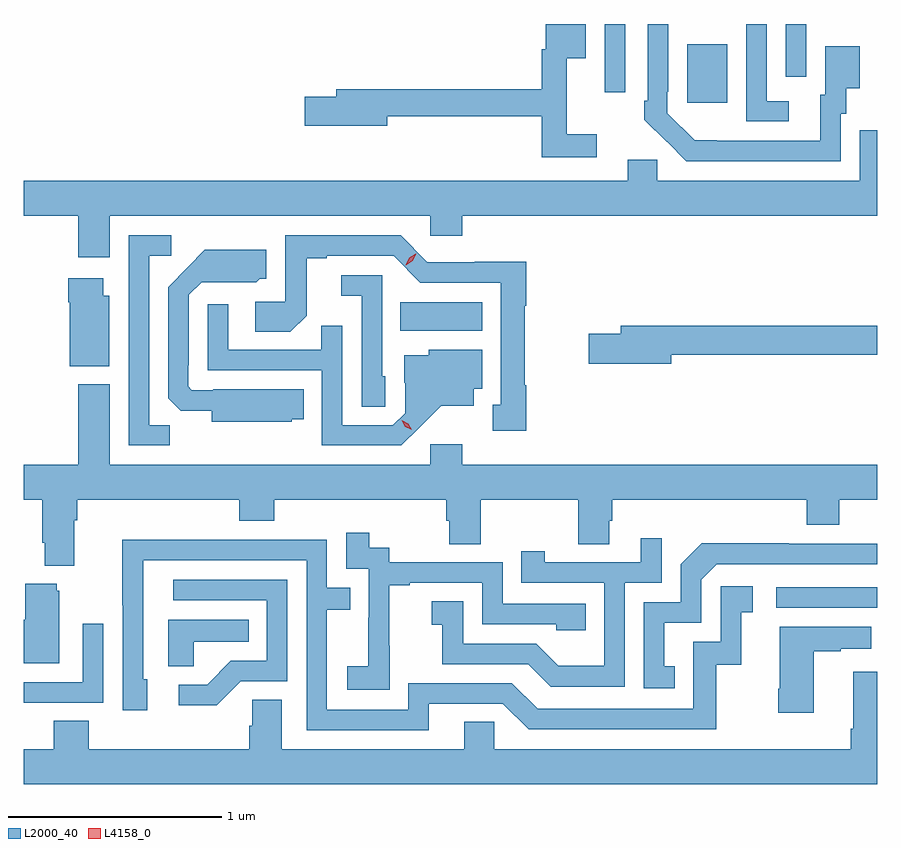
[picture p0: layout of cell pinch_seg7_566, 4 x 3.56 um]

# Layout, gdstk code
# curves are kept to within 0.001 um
import gdstk
lib = gdstk.Library(unit=1e-6, precision=1e-09)
def R(c, l, rs):  # rectangles x0, y0, x1, y1
    for r in rs: c.add(gdstk.rectangle(r[:2], r[2:], *l))
def P(c, l, *ps):  # polygons
    for p in ps: c.add(gdstk.Polygon(p, *l))
L2000_40 = (2000, 40)
L4158_0 = (4158, 0)

pinch_seg7_566 = lib.new_cell('pinch_seg7_566')
R(pinch_seg7_566, L2000_40, [(186.861,1046.73,187.334,1046.826), (185.098,1048.028,185.482,1048.162), (186.443,1049.097,186.631,1049.371), (186.057,1049.148,186.153,1049.467), (186.906,1049.22,187.002,1049.467)])
P(pinch_seg7_566, L2000_40, [(187.164,1049.046),(187.189,1049.046),(187.189,1049.165),(187.252,1049.165),(187.252,1049.362),(187.091,1049.362),(187.091,1049.136),(187.067,1049.136),(187.067,1048.92),(186.48,1048.921),(186.351,1049.049),(186.351,1049.149),(186.354,1049.149),(186.354,1049.467),(186.258,1049.467),(186.258,1049.107),(186.243,1049.107),(186.243,1049.019),(186.44,1048.824),(187.164,1048.824)],
  [(186.019,1048.951),(185.879,1048.951),(185.879,1049.306),(185.968,1049.306),(185.968,1049.467),(185.78,1049.467),(185.78,1049.349),(185.761,1049.349),(185.761,1049.162),(184.799,1049.162),(184.799,1049.126),(184.65,1049.126),(184.65,1048.991),(185.038,1048.991),(185.038,1049.034),(185.761,1049.034),(185.761,1048.842),(186.019,1048.842)],
  [(186.919,1049.106),(186.816,1049.106),(186.816,1049.467),(186.72,1049.467),(186.72,1049.01),(186.919,1049.01)],
  [(183.736,1048.568),(185.238,1048.568),(185.238,1048.475),(185.39,1048.475),(185.39,1048.568),(187.334,1048.568),(187.334,1048.968),(187.253,1048.968),(187.253,1048.732),(186.303,1048.732),(186.303,1048.83),(186.164,1048.83),(186.164,1048.732),(183.334,1048.732),(183.334,1048.568),(183.589,1048.568),(183.589,1048.374),(183.736,1048.374)],
  [(185.689,1047.773),(185.681,1047.773),(185.681,1048.147),(185.689,1048.147),(185.689,1048.352),(185.448,1048.352),(185.448,1048.35),(185.226,1048.35),(185.1,1048.476),(184.56,1048.476),(184.56,1048.164),(184.419,1048.164),(184.419,1048.024),(184.583,1048.024),(184.659,1048.1),(184.659,1048.368),(184.753,1048.368),(184.753,1048.38),(185.067,1048.38),(185.193,1048.254),(185.57,1048.254),(185.57,1047.681),(185.531,1047.681),(185.531,1047.561),(185.689,1047.561)],
  [(184.017,1047.587),(183.921,1047.587),(183.921,1048.38),(184.024,1048.38),(184.024,1048.476),(183.825,1048.476),(183.825,1047.492),(184.017,1047.492)],
  [(184.59,1047.614),(184.646,1047.614),(184.646,1047.754),(184.222,1047.754),(184.222,1047.75),(184.122,1047.75),(184.104,1047.768),(184.104,1047.868),(184.107,1047.868),(184.107,1048.197),(184.167,1048.257),(184.424,1048.256),(184.44,1048.272),(184.471,1048.272),(184.471,1048.408),(184.183,1048.408),(184.011,1048.234),(184.011,1047.712),(184.07,1047.653),(184.214,1047.653),(184.214,1047.602),(184.59,1047.602)],
  [(185.028,1047.816),(185.013,1047.816),(185.013,1048.29),(184.821,1048.29),(184.821,1048.193),(184.917,1048.193),(184.917,1047.673),(185.028,1047.673)],
  [(183.733,1048.194),(183.706,1048.194),(183.706,1048.276),(183.541,1048.276),(183.541,1048.163),(183.548,1048.163),(183.548,1047.863),(183.733,1047.863)],
  [(185.188,1047.575),(185.291,1047.677),(185.443,1047.677),(185.443,1047.756),(185.482,1047.756),(185.482,1047.94),(185.232,1047.94),(185.232,1047.913),(185.117,1047.913),(185.117,1047.784),(185.121,1047.784),(185.121,1047.642),(185.064,1047.585),(184.827,1047.585),(184.827,1048.052),(184.729,1048.052),(184.729,1047.939),(184.293,1047.939),(184.293,1048.153),(184.197,1048.153),(184.197,1047.843),(184.731,1047.843),(184.731,1047.492),(185.104,1047.492)],
  [(186.37,1047.916),(187.334,1047.916),(187.334,1048.052),(186.131,1048.052),(186.131,1048.016),(185.982,1048.016),(185.982,1047.874),(186.37,1047.874)],
  [(183.571,1047.14),(183.584,1047.14),(183.584,1047.236),(184.343,1047.236),(184.343,1047.137),(184.508,1047.137),(184.508,1047.236),(185.315,1047.236),(185.315,1047.138),(185.327,1047.138),(185.327,1047.028),(185.475,1047.028),(185.475,1047.236),(185.932,1047.236),(185.932,1047.028),(186.079,1047.028),(186.079,1047.138),(186.092,1047.138),(186.092,1047.236),(187.004,1047.236),(187.004,1047.119),(187.156,1047.119),(187.156,1047.236),(187.334,1047.236),(187.334,1047.4),(185.39,1047.4),(185.39,1047.496),(185.238,1047.496),(185.238,1047.4),(183.736,1047.4),(183.736,1047.778),(183.589,1047.778),(183.589,1047.4),(183.334,1047.4),(183.334,1047.236),(183.419,1047.236),(183.419,1047.034),(183.431,1047.034),(183.431,1046.927),(183.571,1046.927)],
  [(185.049,1046.551),(185.048,1046.551),(185.048,1046.835),(185.143,1046.835),(185.143,1046.847),(185.484,1046.847),(185.484,1046.652),(185.829,1046.652),(185.829,1046.625),(185.969,1046.625),(185.969,1046.748),(185.58,1046.748),(185.58,1046.943),(185.046,1046.943),(185.046,1047.012),(184.954,1047.012),(184.954,1047.082),(184.845,1047.082),(184.845,1046.913),(184.95,1046.913),(184.95,1046.684),(184.949,1046.684),(184.949,1046.455),(184.851,1046.455),(184.851,1046.345),(185.049,1046.345)],
  [(186.15,1046.847),(186.324,1046.847),(186.324,1047.055),(186.227,1047.055),(186.227,1046.943),(185.776,1046.943),(185.776,1046.995),(185.665,1046.995),(185.665,1046.847),(186.054,1046.847),(186.054,1046.458),(185.84,1046.458),(185.736,1046.562),(185.394,1046.562),(185.394,1046.761),(185.247,1046.761),(185.247,1046.651),(185.296,1046.651),(185.296,1046.466),(185.699,1046.466),(185.804,1046.361),(186.15,1046.361)],
  [(185.233,1046.28),(185.58,1046.28),(185.7,1046.16),(186.58,1046.16),(186.58,1046.463),(186.698,1046.463),(186.698,1046.709),(186.751,1046.709),(186.751,1046.83),(186.6,1046.83),(186.6,1046.571),(186.471,1046.571),(186.471,1046.256),(185.742,1046.256),(185.622,1046.376),(185.136,1046.376),(185.136,1046.253),(184.755,1046.253),(184.755,1046.722),(184.865,1046.722),(184.865,1046.823),(184.755,1046.823),(184.755,1047.048),(184.259,1047.048),(184.259,1047.05),(183.796,1047.05),(183.796,1046.743),(183.798,1046.743),(183.798,1046.25),(183.913,1046.25),(183.913,1046.394),(183.894,1046.394),(183.894,1046.952),(184.659,1046.952),(184.659,1046.157),(185.233,1046.157)],
  [(186.386,1046.457),(186.337,1046.457),(186.337,1046.661),(186.51,1046.661),(186.51,1046.862),(186.582,1046.934),(187.334,1046.934),(187.334,1047.03),(186.92,1047.03),(186.92,1047.032),(186.512,1047.032),(186.414,1046.934),(186.414,1046.757),(186.24,1046.757),(186.24,1046.352),(186.386,1046.352)],
  [(184.35,1046.385),(184.569,1046.385),(184.569,1046.862),(184.035,1046.862),(184.035,1046.766),(184.473,1046.766),(184.473,1046.481),(184.304,1046.481),(184.193,1046.37),(184.059,1046.37),(184.059,1046.273),(184.237,1046.273)],
  [(183.499,1046.811),(183.488,1046.811),(183.488,1046.842),(183.341,1046.842),(183.341,1046.674),(183.334,1046.674),(183.334,1046.471),(183.499,1046.471)],
  [(184.131,1046.57),(184.388,1046.57),(184.388,1046.674),(184.01,1046.674),(184.01,1046.455),(184.131,1046.455)],
  [(183.389,1046.286),(183.705,1046.286),(183.705,1046.656),(183.609,1046.656),(183.609,1046.382),(183.334,1046.382),(183.334,1046.285),(183.389,1046.285)],
  [(187.036,1046.527),(187.163,1046.527),(187.163,1046.537),(187.306,1046.537),(187.306,1046.641),(186.878,1046.641),(186.878,1046.35),(186.871,1046.35),(186.871,1046.238),(187.036,1046.238)],
  [(187.334,1046.43),(187.223,1046.43),(187.223,1046.164),(187.211,1046.164),(187.211,1046.068),(185.538,1046.068),(185.538,1046.195),(185.399,1046.195),(185.399,1046.068),(184.543,1046.068),(184.543,1046.3),(184.404,1046.3),(184.404,1046.177),(184.391,1046.177),(184.391,1046.068),(183.638,1046.068),(183.638,1046.201),(183.473,1046.201),(183.473,1046.068),(183.334,1046.068),(183.334,1045.904),(187.334,1045.904)])
P(pinch_seg7_566, L4158_0, [(185.124,1048.337),(185.124,1048.337),(185.141,1048.37),(185.172,1048.389),(185.173,1048.389),(185.173,1048.389),(185.156,1048.356),(185.124,1048.337)],
  [(185.153,1047.564),(185.122,1047.579),(185.105,1047.609),(185.105,1047.609),(185.105,1047.609),(185.136,1047.594),(185.153,1047.565),(185.153,1047.564)])

lib.write_gds('pinch_seg7_566.gds')
